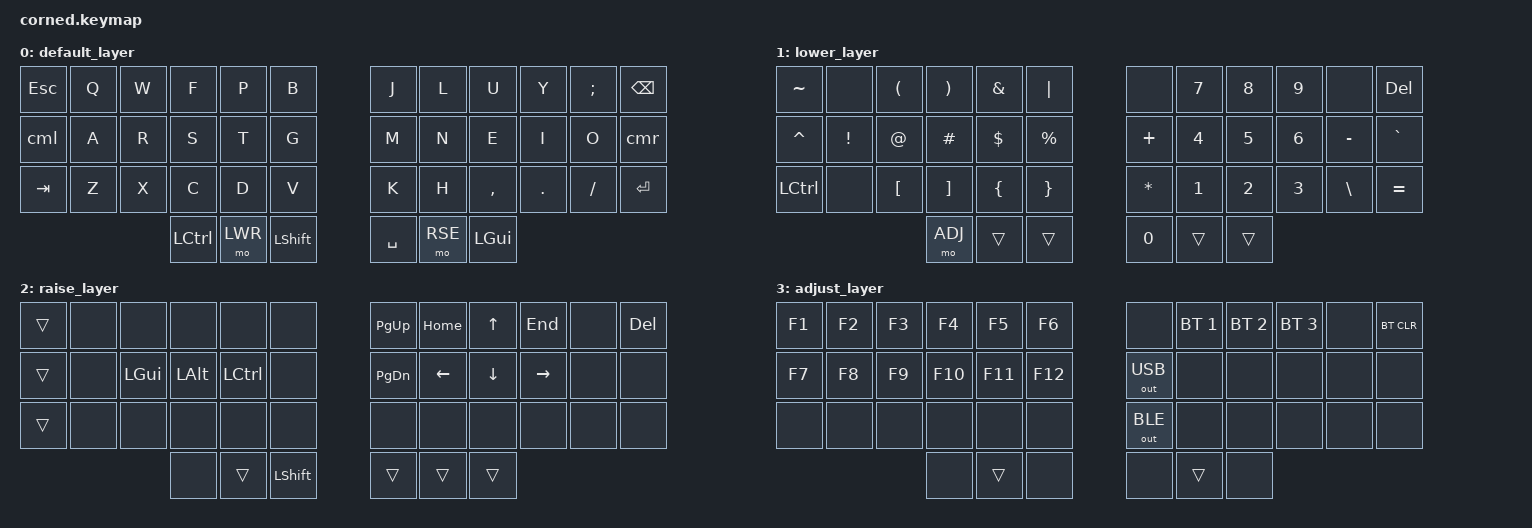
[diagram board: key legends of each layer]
/*
 * Copyright (c) 2020 The ZMK Contributors
 *
 * SPDX-License-Identifier: MIT
 */

#include <behaviors.dtsi>
#include <dt-bindings/zmk/keys.h>
#include <dt-bindings/zmk/bt.h>
#include <dt-bindings/zmk/outputs.h>

#define DFLT  0
// #define QWER  1
// #define LWR   2
// #define RSE   3
// #define ADJ   4
// #define EXT   5
#define LWR   1
#define RSE   2
#define ADJ   3
#define EXT   4

&mt {
  retro-tap;
};

/ {
  behaviors {
    cml: ctrl_morph_left {
        compatible = "zmk,behavior-mod-morph";
        label = "CTRL_MORPH_LEFT";
        #binding-cells = <0>;
        bindings = <&kp MINUS>, <&mt LSHFT LBKT>;
        mods = <(MOD_LCTL|MOD_RCTL)>;
    };
    cmr: ctrl_morph_right {
        compatible = "zmk,behavior-mod-morph";
        label = "CTRL_MORPH_RIGHT";
        #binding-cells = <0>;
        bindings = <&kp SQT>, <&mt RSHFT RBKT>;
        mods = <(MOD_LCTL|MOD_RCTL)>;
    };
    spcun: space_underscore {
        compatible = "zmk,behavior-mod-morph";
        label = "SPACE_UNDERSCORE";
        #binding-cells = <0>;
        bindings = <&kp SPACE>, <&kp UNDER>;
        mods = <(MOD_LSFT|MOD_RSFT)>;
    };
  };


  keymap {
    compatible = "zmk,keymap";

    default_layer {
      bindings = <
// -----------------------------------------------------------------------------------------
// |  ESC  |  Q  |  W  |  F  |  P  |  B  |       |  J  |  L   |  I  |  Y  |  ;  | BKSP |
// | MINUS |  A  |  R  |  S  |  T  |  G  |       |  M  |  N   |  E  |  I  |  O  |  '   |
// |  TAB  |  Z  |  X  |  C  |  D  |  V  |       |  K  |  H   |  ,  |  .  |  /  | RET  |
//                    | EXTR | LWR | SFT |       | SPC | RSE  | GUI |
    &kp ESC    &kp Q    &kp W     &kp F     &kp P    &kp B            &kp J     &kp L    &kp U     &kp Y    &kp SEMI   &kp BSPC
    &cml       &kp A    &kp R     &kp S     &kp T    &kp G            &kp M     &kp N    &kp E     &kp I    &kp O      &cmr
    &kp TAB    &kp Z    &kp X     &kp C     &kp D    &kp V            &kp K     &kp H    &kp COMMA &kp DOT  &kp FSLH   &kp RET
                                  &kp LCTRL &mo LWR  &kp LSHFT        &kp SPACE &mo RSE  &kp LGUI
      >;
    };

//    qwert_layer {
//      bindings = <
//    &trans    &kp Q    &kp W     &kp E     &kp R    &kp T            &kp Y     &kp U    &kp I     &kp O    &kp SEMI   &trans
//    &trans    &kp A    &kp S     &kp D     &kp F    &kp G            &kp H     &kp J    &kp K     &kp L    &kp P      &trans
//    &trans    &kp Z    &kp X     &kp C     &kp V    &kp B            &kp N     &kp M    &kp COMMA &kp DOT  &kp FSLH   &trans
//                                 &trans    &trans   &trans           &trans    &trans   &trans
//      >;
//    };

    lower_layer {
// -----------------------------------------------------------------------------------------
// |  ~  |     |  (  |  )  |  &  |  |  |        |     |  7  |  8  |  9  |     | DEL |
// |  ^  |  !  |  @  |  #  |  $  |  %  |        |  +  |  4  |  5  |  6  |  -  |  `  |
// | CTL |     |  [  |  ]  |  {  |  }  |        |  *  |  1  |  2  |  3  |  \  |  =  |
//                   | --- |     | --- |        |  0  |     | --- |
      bindings = <
    &kp TILDE  &none     &kp LPAR &kp RPAR &kp AMPS &kp PIPE         &none     &kp N7    &kp N8   &kp N9    &none      &kp DEL
    &kp CARET  &kp EXCL  &kp AT   &kp HASH &kp DLLR &kp PRCNT        &kp PLUS  &kp N4    &kp N5   &kp N6    &kp MINUS  &kp GRAVE
    &kp LCTRL  &none     &kp LBKT &kp RBKT &kp LBRC &kp RBRC         &kp STAR  &kp N1    &kp N2   &kp N3    &kp BSLH   &kp EQUAL
                                  &mo ADJ  &trans   &trans           &kp N0    &trans    &trans
      >;
    };

    raise_layer {
      bindings = <
    &trans   &none   &none    &none     &none      &none             &kp PG_UP   &kp HOME  &kp UP    &kp END   &none   &kp DEL
    &trans   &none   &kp LGUI &kp LALT  &kp LCTRL  &none             &kp PG_DN   &kp LEFT  &kp DOWN  &kp RIGHT &none   &none
    &trans   &none   &none    &none     &none      &none             &none       &none     &none     &none     &none   &none
                              &none     &trans     &kp LSHFT         &trans      &trans  &trans
      >;
    };

    adjust_layer {
      bindings = <
    &kp F1 &kp F2   &kp F3    &kp F4   &kp F5   &kp F6          &none        &bt BT_SEL 1 &bt BT_SEL 2 &bt BT_SEL 3 &none        &bt BT_CLR
    &kp F7 &kp F8   &kp F9    &kp F10  &kp F11  &kp F12         &out OUT_USB &none        &none        &none        &none        &none
    &none  &none    &none     &none    &none    &none           &out OUT_BLE &none        &none        &none        &none        &none
                              &none    &trans   &none           &none        &trans       &none
      >;
    };

  };
};


